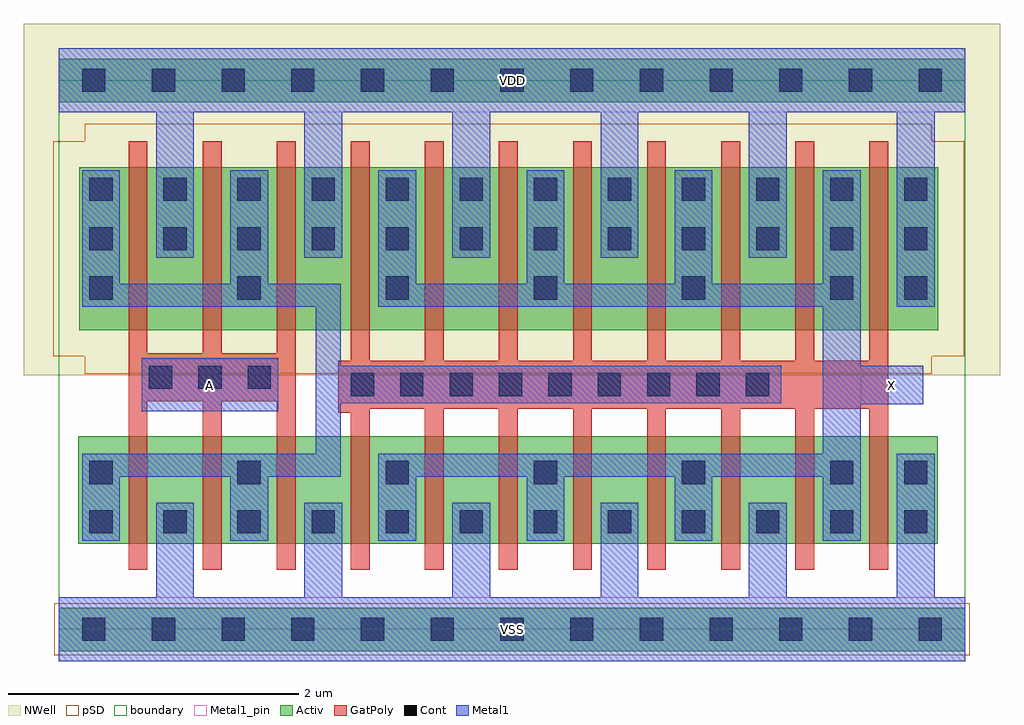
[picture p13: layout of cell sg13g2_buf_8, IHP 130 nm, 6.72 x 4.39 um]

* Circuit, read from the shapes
.subckt sg13g2_buf_8 A VDD VSS X
XM1 VSS A n1 VSS sg13_lv_nmos w=0.74u l=0.13u m=3
XM2 X n1 VSS VSS sg13_lv_nmos w=0.74u l=0.13u m=8
XM3 VDD A n1 VDD sg13_lv_pmos w=1.12u l=0.13u m=3
XM4 X n1 VDD VDD sg13_lv_pmos w=1.12u l=0.13u m=8
.ends

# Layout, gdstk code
import gdstk
lib = gdstk.Library(unit=1e-6, precision=1e-09)
def R(c, l, rs):  # rectangles x0, y0, x1, y1
    for r in rs: c.add(gdstk.rectangle(r[:2], r[2:], *l))
def A(c, l, x, y, w, h, nx, ny, dx, dy):  # array of equal rectangles
    R(c, l, [(x+i*dx, y+j*dy, x+i*dx+w, y+j*dy+h) for i in range(nx) for j in range(ny)])
Activ = (1, 0)
GatPoly = (5, 0)
Cont = (6, 0)
Metal1 = (8, 0)
Metal1_pin = (8, 2)
pSD = (14, 0)
NWell = (31, 0)
boundary = (189, 4)

sg13g2_buf_8 = lib.new_cell('sg13g2_buf_8')
R(sg13g2_buf_8, Activ, [(0,-0.15,6.24,0.15), (0.135,0.59,6.05,1.33), (0.14,2.06,6.055,3.18), (0,3.63,6.24,3.93)])
A(sg13g2_buf_8, GatPoly, 0.48, 0.41, 0.13, 1.16, 3, 1, 0.51, 0)
A(sg13g2_buf_8, GatPoly, 2.52, 0.41, 0.13, 1.11, 7, 1, 0.51, 0)
A(sg13g2_buf_8, GatPoly, 2.01, 1.85, 0.13, 1.51, 8, 1, 0.51, 0)
A(sg13g2_buf_8, GatPoly, 0.48, 1.9, 0.13, 1.46, 3, 1, 0.51, 0)
R(sg13g2_buf_8, GatPoly, [(2.01,0.41,2.14,1.49), (1.925,1.49,2.14,1.52), (1.925,1.52,5.71,1.85), (0.48,1.57,1.63,1.9)])
A(sg13g2_buf_8, Cont, 0.16, -0.08, 0.16, 0.16, 13, 2, 0.48, 3.78)
A(sg13g2_buf_8, Cont, 0.21, 0.66, 0.16, 0.16, 12, 2, 0.51, 1.95)
A(sg13g2_buf_8, Cont, 0.21, 1, 0.16, 0.16, 6, 2, 1.02, 1.27)
A(sg13g2_buf_8, Cont, 2.01, 1.605, 0.16, 0.16, 9, 1, 0.34, 0)
A(sg13g2_buf_8, Cont, 0.62, 1.655, 0.16, 0.16, 3, 1, 0.34, 0)
A(sg13g2_buf_8, Cont, 0.21, 2.95, 0.16, 0.16, 12, 1, 0.51, 0)
R(sg13g2_buf_8, Cont, [(5.82,1,5.98,1.16), (5.82,2.27,5.98,2.43)])
A(sg13g2_buf_8, Metal1, 0.67, 0.22, 0.26, 0.65, 5, 1, 1.02, 0)
A(sg13g2_buf_8, Metal1, 0.16, 0.61, 0.26, 0.44, 6, 1, 1.02, 0)
A(sg13g2_buf_8, Metal1, 0.16, 2.38, 0.26, 0.78, 6, 1, 1.02, 0)
A(sg13g2_buf_8, Metal1, 0.67, 2.56, 0.26, 1, 5, 1, 1.02, 0)
R(sg13g2_buf_8, Metal1, [(0,-0.22,6.24,0.22), (5.77,0.22,6.03,1.21), (0.16,1.05,1.94,1.21), (2.2,1.05,5.52,1.21), (1.77,1.21,1.94,1.555), (5.26,1.21,5.52,1.55), (0.57,1.5,1.51,1.865), (5.26,1.55,5.95,1.815), (1.77,1.555,4.975,1.815), (1.77,1.815,1.94,2.22), (5.26,1.815,5.52,2.22), (0.16,2.22,1.94,2.38), (2.2,2.22,5.52,2.38), (5.77,2.22,6.03,3.56), (0,3.56,6.24,4)])
R(sg13g2_buf_8, Metal1_pin, [(0,-0.22,6.24,0.22), (0.57,1.5,1.51,1.865), (5.52,1.55,5.95,1.815), (0,3.56,6.24,4)])
R(sg13g2_buf_8, pSD, [(-0.03,-0.18,6.27,0.18), (0.18,1.76,6.01,1.88), (-0.04,1.88,6.235,3.36), (0.18,3.36,6.01,3.48)])
R(sg13g2_buf_8, NWell, [(-0.24,1.75,6.48,4.17)])
R(sg13g2_buf_8, boundary, [(0,0,6.24,3.78)])
sg13g2_buf_8.add(gdstk.Label('X', (5.735,1.682), layer=8, texttype=25))
sg13g2_buf_8.add(gdstk.Label('VDD', (3.12,3.78), layer=8, texttype=25))
sg13g2_buf_8.add(gdstk.Label('A', (1.04,1.682), layer=8, texttype=25))
sg13g2_buf_8.add(gdstk.Label('VSS', (3.12,0), layer=8, texttype=25))

lib.write_gds('sg13g2_buf_8.gds')
